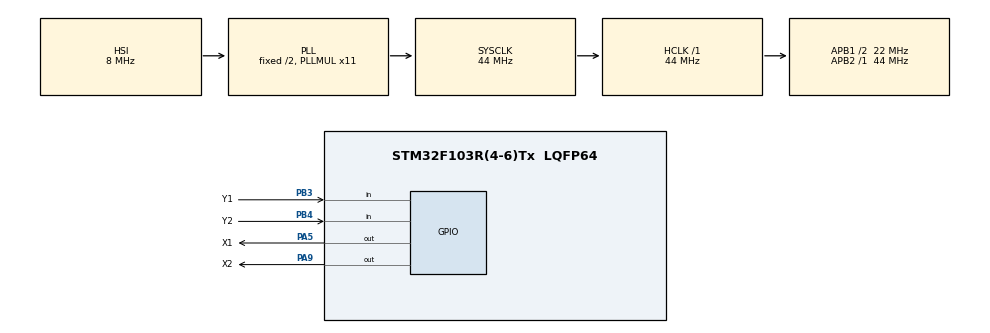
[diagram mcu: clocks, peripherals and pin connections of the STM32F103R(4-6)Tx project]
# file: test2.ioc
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Mcu.Family=STM32F1
Mcu.Name=STM32F103R(4-6)Tx
Mcu.Package=LQFP64
NVIC.PriorityGroup=NVIC_PRIORITYGROUP_4
PA5.GPIO_Label=X1
PA5.Signal=GPIO_Output
PA9.GPIO_Label=X2
PA9.Signal=GPIO_Output
PB3.GPIO_Label=Y1
PB3.GPIO_PuPd=GPIO_NOPULL
PB3.Signal=GPIO_Input
PB4.GPIO_Label=Y2
PB4.GPIO_PuPd=GPIO_PULLUP
PB4.Signal=GPIO_Input
ProjectManager.HeapSize=0x200
ProjectManager.StackSize=0x400
ProjectManager.TargetToolchain=STM32CubeIDE
RCC.AHBFreq_Value=44000000
RCC.APB1CLKDivider=RCC_HCLK_DIV2
RCC.APB1Freq_Value=22000000
RCC.APB1TimFreq_Value=44000000
RCC.APB2Freq_Value=44000000
RCC.APB2TimFreq_Value=44000000
RCC.HCLKFreq_Value=44000000
RCC.PLLMUL=RCC_PLL_MUL11
RCC.SYSCLKFreq_VALUE=44000000
RCC.SYSCLKSource=RCC_SYSCLKSOURCE_PLLCLK
RCC.USBFreq_Value=44000000
board=custom

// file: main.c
/* USER CODE BEGIN Header */
/**
  ******************************************************************************
  * @file           : main.c
  * @brief          : Main program body
  ******************************************************************************
  * @attention
  *
  * Copyright (c) 2023 STMicroelectronics.
  * All rights reserved.
  *
  * This software is licensed under terms that can be found in the LICENSE file
  * in the root directory of this software component.
  * If no LICENSE file comes with this software, it is provided AS-IS.
  *
  ******************************************************************************
  */
/* USER CODE END Header */
#include "main.h"

/* USER CODE BEGIN Includes */
#include "string.h"

/* USER CODE END Includes */

/* USER CODE BEGIN PV */
uint16_t condition_1 = 0;

/* USER CODE END PV */

void SystemClock_Config(void);
static void MX_GPIO_Init(void);

int main(void)
{

  /* MCU Configuration--------------------------------------------------------*/

  /* Reset of all peripherals, Initializes the Flash interface and the Systick. */
  HAL_Init();

  /* Configure the system clock */
  SystemClock_Config();

  /* Initialize all configured peripherals */
  MX_GPIO_Init();
  /* USER CODE BEGIN 2 */
  HAL_GPIO_WritePin(X1_GPIO_Port , X1_Pin ,GPIO_PIN_SET);
  HAL_Delay(500);
  HAL_GPIO_WritePin(X1_GPIO_Port , X1_Pin ,GPIO_PIN_RESET);
  HAL_Delay(500);
  /* USER CODE END 2 */

  /* Infinite loop */
  /* USER CODE BEGIN WHILE */
  while (1)
  {
  		if(HAL_GPIO_ReadPin(Y2_GPIO_Port , Y2_Pin)==1){
	  		condition_1 = 1;
	  	 	}
	  	  if(HAL_GPIO_ReadPin(Y1_GPIO_Port , Y1_Pin)==1){
	  		condition_1 = 0;
	  	 	  }

	  	  if (condition_1 == 0){
	  		  HAL_GPIO_WritePin(X1_GPIO_Port , X1_Pin ,GPIO_PIN_SET);
	  		  HAL_GPIO_WritePin(X2_GPIO_Port , X2_Pin ,GPIO_PIN_SET);
	  	 	  }
	  	  else if (condition_1 == 1){
	  		  HAL_GPIO_WritePin(X1_GPIO_Port , X1_Pin ,GPIO_PIN_SET);
	  		  HAL_GPIO_WritePin(X2_GPIO_Port , X2_Pin ,GPIO_PIN_RESET);
	  	 		  HAL_Delay(100);
	  		      HAL_GPIO_TogglePin(X1_GPIO_Port , X1_Pin );
	  	 		  HAL_GPIO_TogglePin(X2_GPIO_Port , X2_Pin );
	  	 		  HAL_Delay(100);
	  	 	  }

    /* USER CODE END WHILE */

  }
}

void SystemClock_Config(void)
{
  RCC_OscInitTypeDef RCC_OscInitStruct = {0};
  RCC_ClkInitTypeDef RCC_ClkInitStruct = {0};

  /** Initializes the RCC Oscillators according to the specified parameters
  * in the RCC_OscInitTypeDef structure.
  */
  RCC_OscInitStruct.OscillatorType = RCC_OSCILLATORTYPE_HSI;
  RCC_OscInitStruct.HSIState = RCC_HSI_ON;
  RCC_OscInitStruct.HSICalibrationValue = RCC_HSICALIBRATION_DEFAULT;
  RCC_OscInitStruct.PLL.PLLState = RCC_PLL_ON;
  RCC_OscInitStruct.PLL.PLLSource = RCC_PLLSOURCE_HSI_DIV2;
  RCC_OscInitStruct.PLL.PLLMUL = RCC_PLL_MUL11;
  if (HAL_RCC_OscConfig(&RCC_OscInitStruct) != HAL_OK)
  {
    Error_Handler();
  }

  /** Initializes the CPU, AHB and APB buses clocks
  */
  RCC_ClkInitStruct.ClockType = RCC_CLOCKTYPE_HCLK|RCC_CLOCKTYPE_SYSCLK
                              |RCC_CLOCKTYPE_PCLK1|RCC_CLOCKTYPE_PCLK2;
  RCC_ClkInitStruct.SYSCLKSource = RCC_SYSCLKSOURCE_PLLCLK;
  RCC_ClkInitStruct.AHBCLKDivider = RCC_SYSCLK_DIV1;
  RCC_ClkInitStruct.APB1CLKDivider = RCC_HCLK_DIV2;
  RCC_ClkInitStruct.APB2CLKDivider = RCC_HCLK_DIV1;

  if (HAL_RCC_ClockConfig(&RCC_ClkInitStruct, FLASH_LATENCY_1) != HAL_OK)
  {
    Error_Handler();
  }
}

static void MX_GPIO_Init(void)
{
  GPIO_InitTypeDef GPIO_InitStruct = {0};

  /* GPIO Ports Clock Enable */
  __HAL_RCC_GPIOA_CLK_ENABLE();
  __HAL_RCC_GPIOB_CLK_ENABLE();

  /*Configure GPIO pin Output Level */
  HAL_GPIO_WritePin(GPIOA, X1_Pin|X2_Pin, GPIO_PIN_RESET);

  /*Configure GPIO pins : X1_Pin X2_Pin */
  GPIO_InitStruct.Pin = X1_Pin|X2_Pin;
  GPIO_InitStruct.Mode = GPIO_MODE_OUTPUT_PP;
  GPIO_InitStruct.Pull = GPIO_NOPULL;
  GPIO_InitStruct.Speed = GPIO_SPEED_FREQ_LOW;
  HAL_GPIO_Init(GPIOA, &GPIO_InitStruct);

  /*Configure GPIO pin : Y1_Pin */
  GPIO_InitStruct.Pin = Y1_Pin;
  GPIO_InitStruct.Mode = GPIO_MODE_INPUT;
  GPIO_InitStruct.Pull = GPIO_NOPULL;
  HAL_GPIO_Init(Y1_GPIO_Port, &GPIO_InitStruct);

  /*Configure GPIO pin : Y2_Pin */
  GPIO_InitStruct.Pin = Y2_Pin;
  GPIO_InitStruct.Mode = GPIO_MODE_INPUT;
  GPIO_InitStruct.Pull = GPIO_PULLUP;
  HAL_GPIO_Init(Y2_GPIO_Port, &GPIO_InitStruct);

}

void Error_Handler(void)
{
  __disable_irq();
  while (1)
  {
  }
}
